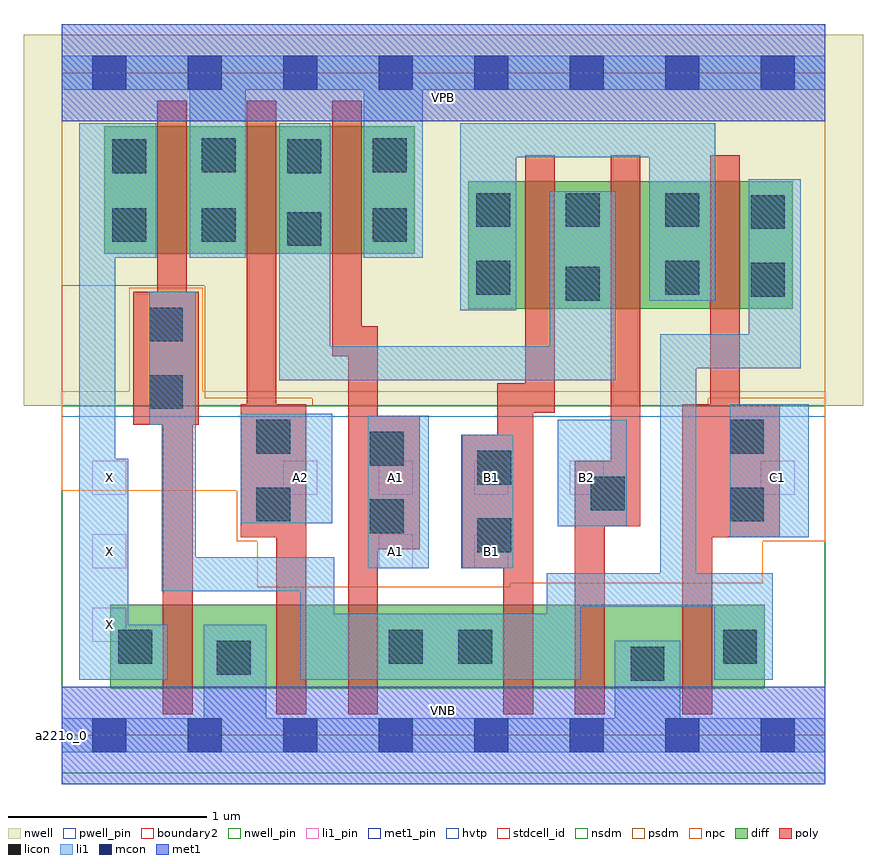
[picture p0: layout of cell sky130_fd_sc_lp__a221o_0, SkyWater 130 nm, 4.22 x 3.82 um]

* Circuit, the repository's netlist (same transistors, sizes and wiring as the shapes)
* Copyright 2020 The SkyWater PDK Authors
*
* Licensed under the Apache License, Version 2.0 (the "License");
* you may not use this file except in compliance with the License.
* You may obtain a copy of the License at
*
*     https://www.apache.org/licenses/LICENSE-2.0
*
* Unless required by applicable law or agreed to in writing, software
* distributed under the License is distributed on an "AS IS" BASIS,
* WITHOUT WARRANTIES OR CONDITIONS OF ANY KIND, either express or implied.
* See the License for the specific language governing permissions and
* limitations under the License.
*
* SPDX-License-Identifier: Apache-2.0

.SUBCKT sky130_fd_sc_lp__a221o_0 A1 A2 B1 B2 C1 VGND VNB VPB VPWR X
*.PININFO A1:I A2:I B1:I B2:I C1:I VGND:I VNB:I VPB:I VPWR:I X:O
MMPA0 pndA A1 VPWR VPB sky130_fd_pr__pfet_01v8_hvt m=1 w=0.64U l=0.15U mult=1 sa=0.265
+ sb=0.265 sd=0.28 area=0.063 perim=1.14
MMPA1 pndA A2 VPWR VPB sky130_fd_pr__pfet_01v8_hvt m=1 w=0.64U l=0.15U mult=1 sa=0.265
+ sb=0.265 sd=0.28 area=0.063 perim=1.14
MMPB0 pndB B1 pndA VPB sky130_fd_pr__pfet_01v8_hvt m=1 w=0.64U l=0.15U mult=1 sa=0.265
+ sb=0.265 sd=0.28 area=0.063 perim=1.14
MMPB1 pndB B2 pndA VPB sky130_fd_pr__pfet_01v8_hvt m=1 w=0.64U l=0.15U mult=1 sa=0.265
+ sb=0.265 sd=0.28 area=0.063 perim=1.14
MMPC0 y C1 pndB VPB sky130_fd_pr__pfet_01v8_hvt m=1 w=0.64U l=0.15U mult=1 sa=0.265
+ sb=0.265 sd=0.28 area=0.063 perim=1.14
MMIPX X y VPWR VPB sky130_fd_pr__pfet_01v8_hvt m=1 w=0.64U l=0.15U mult=1 sa=0.265
+ sb=0.265 sd=0.28 area=0.063 perim=1.14
MMNA0 y A1 sndA1 VNB sky130_fd_pr__nfet_01v8 m=1 w=0.42U l=0.15U mult=1 sa=0.265
+ sb=0.265 sd=0.28 area=0.063 perim=1.14
MMNA1 sndA1 A2 VGND VNB sky130_fd_pr__nfet_01v8 m=1 w=0.42U l=0.15U mult=1 sa=0.265
+ sb=0.265 sd=0.28 area=0.063 perim=1.14
MMNB0 y B1 sndB1 VNB sky130_fd_pr__nfet_01v8 m=1 w=0.42U l=0.15U mult=1 sa=0.265
+ sb=0.265 sd=0.28 area=0.063 perim=1.14
MMNB1 sndB1 B2 VGND VNB sky130_fd_pr__nfet_01v8 m=1 w=0.42U l=0.15U mult=1 sa=0.265
+ sb=0.265 sd=0.28 area=0.063 perim=1.14
MMNC0 y C1 VGND VNB sky130_fd_pr__nfet_01v8 m=1 w=0.42U l=0.15U mult=1 sa=0.265
+ sb=0.265 sd=0.28 area=0.063 perim=1.14
MMINX X y VGND VNB sky130_fd_pr__nfet_01v8 m=1 w=0.42U l=0.15U mult=1 sa=0.265
+ sb=0.265 sd=0.28 area=0.063 perim=1.14
.ENDS sky130_fd_sc_lp__a221o_0

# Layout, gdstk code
import gdstk
lib = gdstk.Library(unit=1e-6, precision=1e-09)
def R(c, l, rs):  # rectangles x0, y0, x1, y1
    for r in rs: c.add(gdstk.rectangle(r[:2], r[2:], *l))
def A(c, l, x, y, w, h, nx, ny, dx, dy):  # array of equal rectangles
    R(c, l, [(x+i*dx, y+j*dy, x+i*dx+w, y+j*dy+h) for i in range(nx) for j in range(ny)])
def P(c, l, *ps):  # polygons
    for p in ps: c.add(gdstk.Polygon(p, *l))
nwell_pin = (64, 16)
nwell = (64, 20)
diff = (65, 20)
poly = (66, 20)
licon = (66, 44)
li1_pin = (67, 16)
li1 = (67, 20)
mcon = (67, 44)
met1_pin = (68, 16)
met1 = (68, 20)
hvtp = (78, 44)
stdcell_id = (81, 4)
nsdm = (93, 44)
psdm = (94, 20)
npc = (95, 20)
pwell_pin = (122, 16)
boundary2 = (236, 0)

sky130_fd_sc_lp__a221o_0 = lib.new_cell('sky130_fd_sc_lp__a221o_0')
R(sky130_fd_sc_lp__a221o_0, nwell_pin, [(0,3.085,3.84,3.33)])
R(sky130_fd_sc_lp__a221o_0, nwell, [(-0.19,1.655,4.03,3.52)])
R(sky130_fd_sc_lp__a221o_0, diff, [(0.245,0.235,3.535,0.655), (2.045,2.145,3.675,2.785), (0.215,2.42,1.775,3.06)])
P(sky130_fd_sc_lp__a221o_0, poly, [(0.69,2.23),(0.63,2.23),(0.63,3.19),(0.48,3.19),(0.48,2.23),(0.36,2.23),(0.36,1.56),(0.51,1.56),(0.51,0.105),(0.66,0.105),(0.66,1.56),(0.69,1.56)],
  [(1.23,1.665),(1.08,1.665),(1.08,3.19),(0.93,3.19),(0.93,1.665),(0.9,1.665),(0.9,0.995),(1.08,0.995),(1.08,0.105),(1.23,0.105)],
  [(2.91,2.915),(2.76,2.915),(2.76,1.38),(2.58,1.38),(2.58,0.105),(2.73,0.105),(2.73,1.05),(2.91,1.05)],
  [(3.61,1.665),(3.41,1.665),(3.41,2.915),(3.26,2.915),(3.26,1.665),(3.12,1.665),(3.12,0.105),(3.27,0.105),(3.27,0.995),(3.61,0.995)],
  [(1.8,1.605),(1.59,1.605),(1.59,2.055),(1.51,2.055),(1.51,3.19),(1.36,3.19),(1.36,1.905),(1.44,1.905),(1.44,0.105),(1.59,0.105),(1.59,0.935),(1.8,0.935)],
  [(2.48,2.915),(2.33,2.915),(2.33,1.77),(2.19,1.77),(2.19,1.51),(2.01,1.51),(2.01,0.84),(2.22,0.84),(2.22,0.105),(2.37,0.105),(2.37,1.62),(2.48,1.62)])
R(sky130_fd_sc_lp__a221o_0, licon, [(2.86,0.275,3.03,0.445), (0.78,0.305,0.95,0.475), (0.285,0.36,0.455,0.53), (1.645,0.36,1.815,0.53), (1.995,0.36,2.165,0.53), (3.325,0.36,3.495,0.53), (2.09,0.92,2.26,1.09), (1.55,1.015,1.72,1.185), (0.98,1.075,1.15,1.245), (3.36,1.075,3.53,1.245), (2.66,1.13,2.83,1.3), (2.09,1.26,2.26,1.43), (1.55,1.355,1.72,1.525), (0.98,1.415,1.15,1.585), (3.36,1.415,3.53,1.585), (0.44,1.64,0.61,1.81), (0.44,1.98,0.61,2.15), (2.535,2.185,2.705,2.355), (3.465,2.205,3.635,2.375), (2.085,2.215,2.255,2.385), (3.035,2.215,3.205,2.385), (1.135,2.46,1.305,2.63), (0.255,2.48,0.425,2.65), (0.705,2.48,0.875,2.65), (1.565,2.48,1.735,2.65), (3.465,2.545,3.635,2.715), (2.085,2.555,2.255,2.725), (2.535,2.555,2.705,2.725), (3.035,2.555,3.205,2.725), (0.255,2.825,0.425,2.995), (1.135,2.825,1.305,2.995), (0.705,2.83,0.875,3), (1.565,2.83,1.735,3)])
A(sky130_fd_sc_lp__a221o_0, li1_pin, 0.155, 0.47, 0.17, 0.17, 1, 3, 0, 0.37)
A(sky130_fd_sc_lp__a221o_0, li1_pin, 1.115, 1.21, 0.17, 0.17, 4, 1, 0.48, 0)
R(sky130_fd_sc_lp__a221o_0, li1_pin, [(1.595,0.84,1.765,1.01), (2.075,0.84,2.245,1.01), (3.515,1.21,3.685,1.38)])
R(sky130_fd_sc_lp__a221o_0, li1, [(1.54,0.84,1.845,1.605), (2.015,0.84,2.27,1.51), (3.36,0.995,3.755,1.665), (2.495,1.05,2.84,1.585), (0.9,1.065,1.36,1.615)])
P(sky130_fd_sc_lp__a221o_0, li1, [(0.535,0.555),(0.335,0.555),(0.335,1.39),(0.27,1.39),(0.27,2.4),(0.475,2.4),(0.475,3.075),(0.09,3.075),(0.09,0.28),(0.535,0.28)],
  [(3.715,2.795),(3.455,2.795),(3.455,2.015),(3.01,2.015),(3.01,0.815),(2.44,0.815),(2.44,0.61),(1.37,0.61),(1.37,0.895),(0.675,0.895),(0.675,2.23),(0.44,2.23),(0.44,1.56),(0.505,1.56),(0.505,0.725),(1.2,0.725),(1.2,0.28),(2.61,0.28),(2.61,0.645),(3.28,0.645),(3.28,0.28),(3.575,0.28),(3.575,0.815),(3.19,0.815),(3.19,1.845),(3.715,1.845)],
  [(3.285,3.075),(2.005,3.075),(2.005,2.135),(2.285,2.135),(2.285,2.905),(2.955,2.905),(2.955,2.185),(3.285,2.185)],
  [(3.84,0.085),(3.11,0.085),(3.11,0.475),(2.78,0.475),(2.78,0.085),(1.03,0.085),(1.03,0.555),(0.715,0.555),(0.715,0.085),(0,0.085),(0,-0.085),(3.84,-0.085)],
  [(3.84,3.415),(0,3.415),(0,3.245),(0.645,3.245),(0.645,2.4),(0.925,2.4),(0.925,3.245),(1.52,3.245),(1.52,2.4),(1.815,2.4),(1.815,3.245),(3.84,3.245)],
  [(2.785,2.735),(2.455,2.735),(2.455,1.955),(1.35,1.955),(1.35,3.075),(1.095,3.075),(1.095,1.785),(2.785,1.785)])
A(sky130_fd_sc_lp__a221o_0, mcon, 0.155, -0.085, 0.17, 0.17, 8, 2, 0.48, 3.33)
R(sky130_fd_sc_lp__a221o_0, met1_pin, [(0,0,3.84,0.245), (0,3.085,3.84,3.33)])
R(sky130_fd_sc_lp__a221o_0, met1, [(0,-0.245,3.84,0.245), (0,3.085,3.84,3.575)])
R(sky130_fd_sc_lp__a221o_0, hvtp, [(0,1.6,3.84,3.33)])
R(sky130_fd_sc_lp__a221o_0, stdcell_id, [(0,0,3.84,3.33)])
R(sky130_fd_sc_lp__a221o_0, nsdm, [(0,-0.19,3.84,1.655)])
P(sky130_fd_sc_lp__a221o_0, psdm, [(3.84,3.52),(0,3.52),(0,2.26),(0.72,2.26),(0.72,1.695),(1.26,1.695),(1.26,1.655),(3.25,1.655),(3.25,1.695),(3.84,1.695)])
P(sky130_fd_sc_lp__a221o_0, npc, [(3.84,1.73),(0.71,1.73),(0.71,2.25),(0.34,2.25),(0.34,1.73),(0,1.73),(0,1.23),(0.88,1.23),(0.88,0.975),(0.985,0.975),(0.985,0.745),(2.255,0.745),(2.255,0.765),(3.525,0.765),(3.525,0.975),(3.84,0.975)])
R(sky130_fd_sc_lp__a221o_0, pwell_pin, [(0,0,3.84,0.245)])
R(sky130_fd_sc_lp__a221o_0, boundary2, [(0,0,3.84,3.33)])
sky130_fd_sc_lp__a221o_0.add(gdstk.Label('VNB', (1.92,0.123), layer=64, texttype=59))
sky130_fd_sc_lp__a221o_0.add(gdstk.Label('VPB', (1.92,3.208), layer=64, texttype=5))
sky130_fd_sc_lp__a221o_0.add(gdstk.Label('a221o_0', (0,0), layer=83, texttype=44))
sky130_fd_sc_lp__a221o_0.add(gdstk.Label('VPWR', (1.92,3.208), layer=68, texttype=5))
sky130_fd_sc_lp__a221o_0.add(gdstk.Label('VGND', (1.92,0.123), layer=68, texttype=5))
sky130_fd_sc_lp__a221o_0.add(gdstk.Label('A1', (1.68,0.925), layer=67, texttype=5))
sky130_fd_sc_lp__a221o_0.add(gdstk.Label('A1', (1.68,1.295), layer=67, texttype=5))
sky130_fd_sc_lp__a221o_0.add(gdstk.Label('A2', (1.2,1.295), layer=67, texttype=5))
sky130_fd_sc_lp__a221o_0.add(gdstk.Label('B1', (2.16,0.925), layer=67, texttype=5))
sky130_fd_sc_lp__a221o_0.add(gdstk.Label('B1', (2.16,1.295), layer=67, texttype=5))
sky130_fd_sc_lp__a221o_0.add(gdstk.Label('B2', (2.64,1.295), layer=67, texttype=5))
sky130_fd_sc_lp__a221o_0.add(gdstk.Label('C1', (3.6,1.295), layer=67, texttype=5))
sky130_fd_sc_lp__a221o_0.add(gdstk.Label('X', (0.24,0.555), layer=67, texttype=5))
sky130_fd_sc_lp__a221o_0.add(gdstk.Label('X', (0.24,0.925), layer=67, texttype=5))
sky130_fd_sc_lp__a221o_0.add(gdstk.Label('X', (0.24,1.295), layer=67, texttype=5))

lib.write_gds('sky130_fd_sc_lp__a221o_0.gds')
